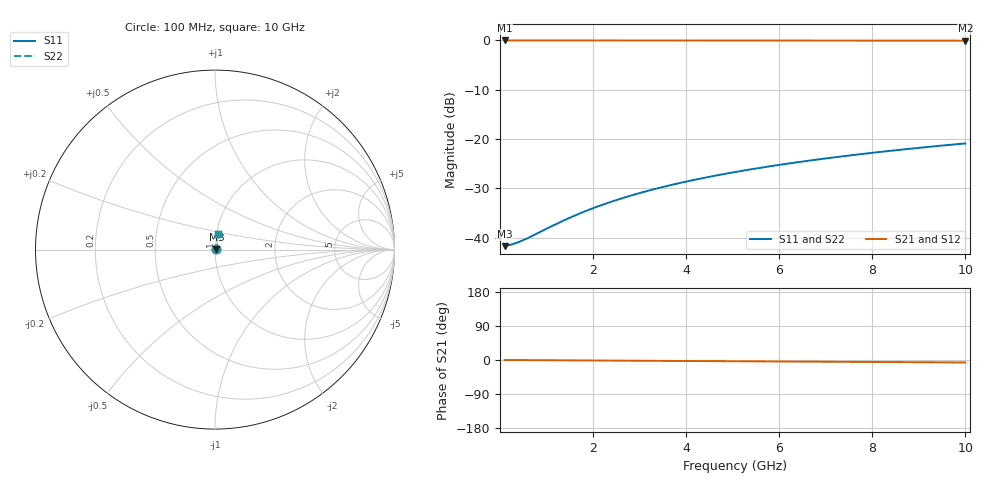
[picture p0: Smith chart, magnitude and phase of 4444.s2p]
# Hz S RI R 50.00
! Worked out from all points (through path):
!   100 points, 100 MHz to 10 GHz, reference 50 ohm
!   highest |S21| = -0.07 dB at 100 MHz (marker M1); lowest = -0.1 dB at 10 GHz (marker M2)
!   lowest |S11| = -41.7 dB at 100 MHz (marker M3), VSWR 1.02, Z = 50.8 + j0.0906 ohm
!   |S11| at or under -10 dB: start of sweep to end of sweep
!   |S22| runs from -41.7 to -20.9 dB; largest |S21 - S12| = 0
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1e8  0.00819 0.000892  0.9918 -0.00113  0.9918 -0.00113  0.00819 0.000892
2e8  0.00825 0.00178  0.9918 -0.00226  0.9918 -0.00226  0.00825 0.00178
3e8  0.00829 0.00267  0.9917 -0.00339  0.9917 -0.00339  0.00829 0.00267
5e8  0.00836 0.00446  0.9916 -0.00565  0.9916 -0.00565  0.00836 0.00446
7e8  0.00843 0.00624  0.9916 -0.00791  0.9916 -0.00791  0.00843 0.00624
1.3e9  0.00865 0.0116  0.9913 -0.0147  0.9913 -0.0147  0.00865 0.0116
1.6e9  0.00878 0.0143  0.9912 -0.0181  0.9912 -0.0181  0.00878 0.0143
1.8e9  0.00887 0.016  0.9911 -0.0203  0.9911 -0.0203  0.00887 0.016
2.1e9  0.00902 0.0187  0.991 -0.0237  0.991 -0.0237  0.00902 0.0187
2.5e9  0.00924 0.0223  0.9907 -0.0282  0.9907 -0.0282  0.00924 0.0223
2.9e9  0.00949 0.0258  0.9905 -0.0327  0.9905 -0.0327  0.00949 0.0258
3.4e9  0.00985 0.0303  0.9901 -0.0384  0.9901 -0.0384  0.00985 0.0303
3.8e9  0.0102 0.0338  0.9898 -0.0429  0.9898 -0.0429  0.0102 0.0338
4.2e9  0.0105 0.0373  0.9894 -0.0474  0.9894 -0.0474  0.0105 0.0373
4.6e9  0.0109 0.0409  0.989 -0.0519  0.989 -0.0519  0.0109 0.0409
5.1e9  0.0114 0.0453  0.9885 -0.0575  0.9885 -0.0575  0.0114 0.0453
5.9e9  0.0124 0.0524  0.9875 -0.0665  0.9875 -0.0665  0.0124 0.0524
6.7e9  0.0134 0.0594  0.9864 -0.0754  0.9864 -0.0754  0.0134 0.0594
7.5e9  0.0146 0.0664  0.9852 -0.0843  0.9852 -0.0843  0.0146 0.0664
8.4e9  0.0161 0.0743  0.9837 -0.0944  0.9837 -0.0944  0.0161 0.0743
9.2e9  0.0175 0.0812  0.9822 -0.1032  0.9822 -0.1032  0.0175 0.0812
1e10  0.0191 0.0881  0.9806 -0.1121  0.9806 -0.1121  0.0191 0.0881
